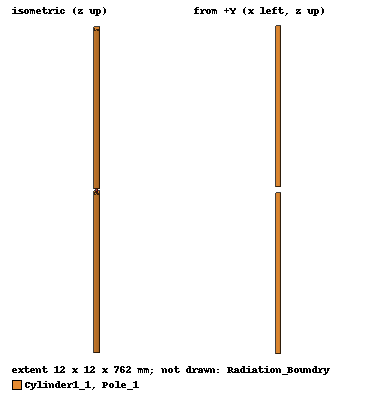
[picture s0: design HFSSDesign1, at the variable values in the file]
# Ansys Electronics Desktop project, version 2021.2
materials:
  vacuum: permittivity=1
  copper: permeability=0.999991 conductivity=58000000

design HFSSDesign1 (HFSS, DrivenModal, model units mm)
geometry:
  Pole_1 [copper] = cylinder(axis=Z, base_centre=(0mm, 0mm, 6mm), radius=6mm, height=375mm)
  Cylinder1_1 [copper] = Pole_1.duplicate_around_axis(axis=Y, angle=180deg, total=2)
  Port = rectangle(corner=(0mm, -3mm, 6mm), y_size=6mm, z_size=-12mm)
  Radiation_Boundry [vacuum] = box(corner=((-200/2) mm, (-200/2) mm, (-1000/2) mm), size=(200mm, 200mm, 1000mm))
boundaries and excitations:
  Rad1: Radiation Objects=Radiation_Boundry
  Lumbport: Lumped Port Objects=Port Modes{Mode1{IntLine{middle of Port.edge(z opposite corner) -> middle of Port.edge(z at corner)} CharImp=Zpi RenormImp=73ohm}} Impedance=50ohm
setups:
  AWP_C3: HfssDriven Frequency=0.2GHz MaxDeltaS=0.02 MaximumPasses=30 MinimumPasses=1 MinimumConvergedPasses=1 PercentRefinement=30 BasisOrder=1 PortAccuracy=2
    sweep Sweep: 90MHz to 0.8GHz, 401 points; Type=Fast SaveFields
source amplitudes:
  Lumbport:1: 1W 0deg
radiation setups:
  Infinite Sphere1: Infinite Sphere Theta=0deg..180deg step 2deg Phi=-180deg..180deg step 2deg
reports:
  S Parameter Plot 1: dB(S(Lumbport,Lumbport)), dB(S(Lumbport,Lumbport)) vs Freq on AWP_C3 : Sweep
